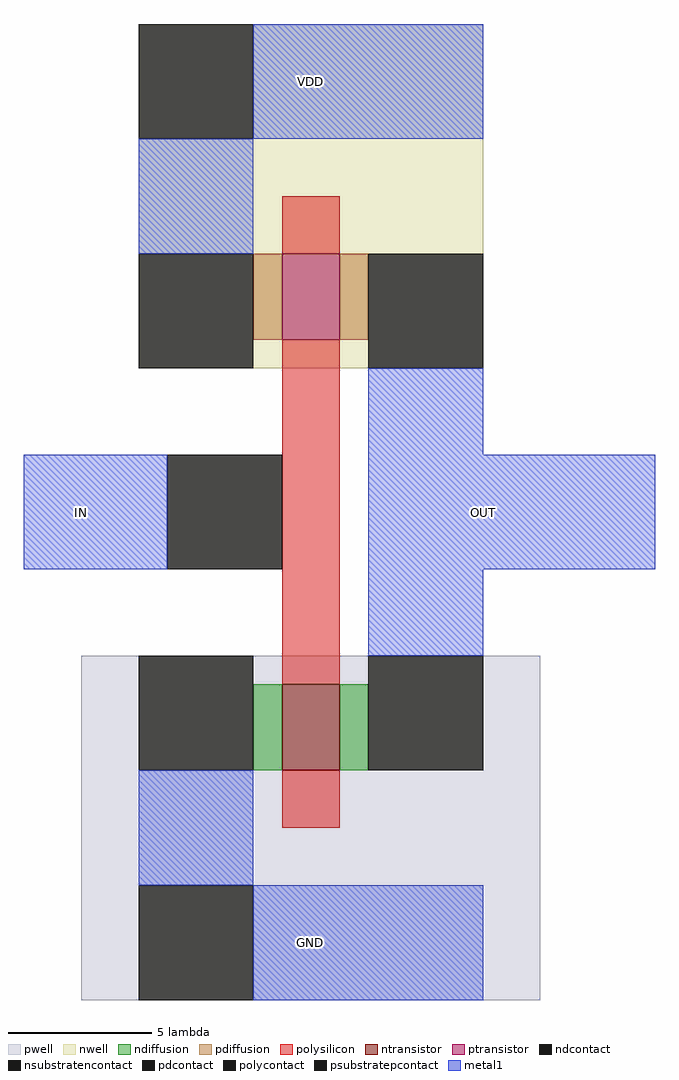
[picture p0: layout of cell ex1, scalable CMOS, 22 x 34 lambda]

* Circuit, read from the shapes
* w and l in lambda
.subckt ex1 GND IN OUT VDD
M1 OUT IN GND GND nfet w=3 l=2
M2 OUT IN VDD VDD pfet w=3 l=2
.ends

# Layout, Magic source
magic
tech scmos
<< pwell >>
rect -5 -2 11 10
<< nwell >>
rect -3 20 9 32
<< polysilicon >>
rect 2 24 4 26
rect 2 9 4 21
rect 2 4 4 6
<< ndiffusion >>
rect 1 6 2 9
rect 4 6 5 9
<< pdiffusion >>
rect 1 21 2 24
rect 4 21 5 24
<< metal1 >>
rect 1 28 9 32
rect -3 24 1 28
rect 5 17 9 20
rect -7 13 -2 17
rect 5 13 15 17
rect 5 10 9 13
rect -3 2 1 6
rect 1 -2 9 2
<< ntransistor >>
rect 2 6 4 9
<< ptransistor >>
rect 2 21 4 24
<< polycontact >>
rect -2 13 2 17
<< ndcontact >>
rect -3 6 1 10
rect 5 6 9 10
<< pdcontact >>
rect -3 20 1 24
rect 5 20 9 24
<< psubstratepcontact >>
rect -3 -2 1 2
<< nsubstratencontact >>
rect -3 28 1 32
<< labels >>
rlabel metal1 -5 15 -5 15 3 IN
rlabel metal1 9 15 9 15 7 OUT
rlabel metal1 3 30 3 30 5 VDD
rlabel metal1 3 0 3 0 1 GND
<< end >>
